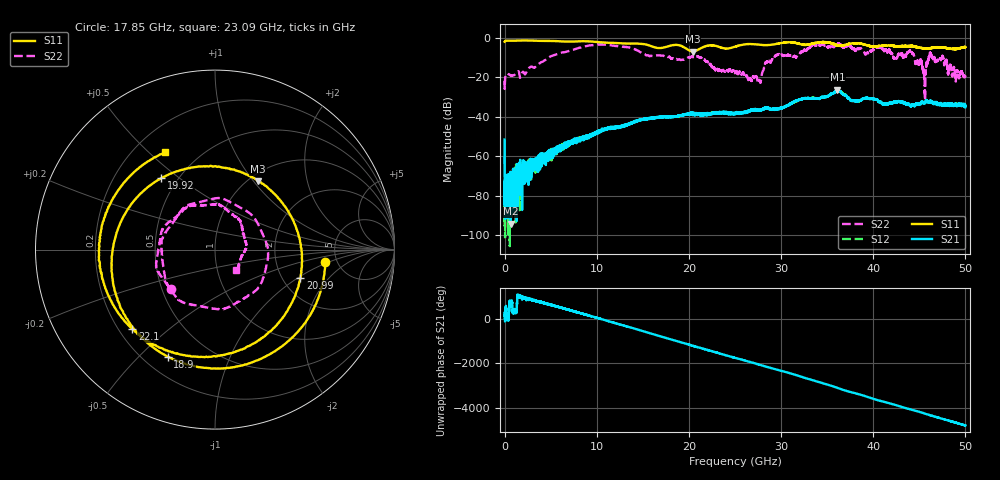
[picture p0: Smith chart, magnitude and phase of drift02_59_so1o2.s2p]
!Created with skrf (http://scikit-rf.org).
# Hz S RI R 50.0
!freq ReS11 ImS11 ReS21 ImS21 ReS12 ImS12 ReS22 ImS22
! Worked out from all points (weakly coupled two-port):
!   10001 points, 300 kHz to 50 GHz, reference 50 ohm
!   highest |S21| = -26.23 dB at 36.12 GHz (marker M1); lowest = -94.2 dB at 675.3 MHz (marker M2)
!   lowest |S11| = -6.9 dB at 20.41 GHz (marker M3), VSWR 2.64, Z = 55.2 + j52.7 ohm
!   |S11| at or under -10 dB: nowhere
!   |S22| runs from -30.7 to -2.8 dB; largest |S21 - S12| = 0.0053
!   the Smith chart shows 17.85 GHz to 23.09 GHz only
!   S11 on the Smith chart (normalised r, x): 17.85 GHz: 4.00, -0.90; 18.9 GHz: 0.30, -0.61; 19.92 GHz: 0.41, +0.43; 20.99 GHz: 2.51, -1.04; 22.1 GHz: 0.25, -0.38; 23.09 GHz: 0.33, +0.56
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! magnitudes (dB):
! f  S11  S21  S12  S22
! 300 kHz  -2.1  -51.6  -59.6  -21.8
! 255.3 MHz  -1.4  -76.6  -80.2  -18.2
! 675.3 MHz  -1.5  -94.2  -78.8  -19.0
! 8.335 GHz  -1.7  -50.4  -52.1  -4.7
! 16.67 GHz  -5.2  -40.3  -40.5  -9.0
! 17.85 GHz  -4.2  -40.2  -40.0  -9.6
! 18.9 GHz  -3.7  -39.6  -39.6  -10.8
! 19.92 GHz  -6.0  -38.6  -38.7  -9.9
! 20.41 GHz  -6.9  -38.6  -38.3  -9.7
! 20.99 GHz  -6.0  -38.3  -39.0  -9.4
! 22.1 GHz  -3.9  -38.8  -38.6  -12.6
! 23.09 GHz  -4.3  -38.2  -38.3  -15.7
! 25 GHz  -4.5  -38.3  -38.4  -17.7
! 27.63 GHz  -3.5  -36.8  -36.8  -21.3
! 29.54 GHz  -3.0  -36.1  -36.1  -8.8
! 33.34 GHz  -3.0  -30.6  -30.5  -3.8
! 36.12 GHz  -3.8  -26.2  -27.0  -3.1
! 41.67 GHz  -3.9  -33.2  -33.3  -6.1
! 44.14 GHz  -4.2  -34.7  -34.4  -7.1
! 45.5 GHz  -5.3  -33.0  -33.1  -18.1
! 46.26 GHz  -5.2  -32.0  -32.2  -8.3
! 50 GHz  -4.7  -34.3  -34.3  -19.7
